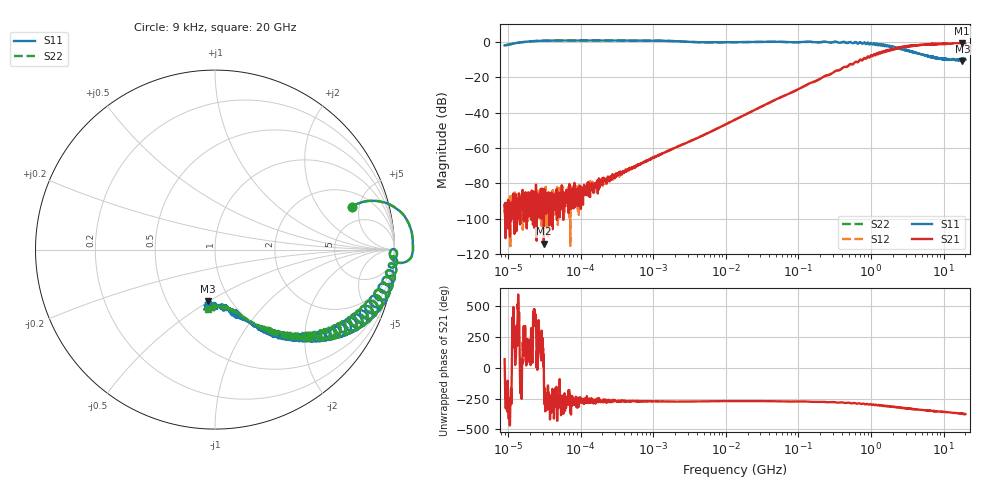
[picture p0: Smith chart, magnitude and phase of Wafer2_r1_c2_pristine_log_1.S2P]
!  2-Port S-parameters saved by WinCal
! VAR MeasName=S-Parameters (CALIBRATED_DATA) read from VNA (P5004A)
! VAR MeasDate=26/04/2024 18:12:30
! VAR NAME=Wafer2_r1_c2_pristine_log
! VAR FILENAME=Wafer2_r1_c2_pristine_log_1.S2P
! VAR DATE=26/04/2024 18:12:30
! VAR PHYS_PORTS=1,2
! VAR ObjTypeName=DATASET
! VAR IndexType=Frequency
# Hz S MA R 50
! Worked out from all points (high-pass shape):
!   2000 points, 9 kHz to 20 GHz, reference 50 ohm
!   highest |S21| = -0.66 dB at 18.05 GHz (marker M1); lowest = -114.1 dB at 31.19 kHz (marker M2)
!   |S21| within 3 dB of the highest: 2.255 GHz to 2.324 GHz (68.94 MHz wide, 3.01 % of centre); 2.339 GHz to end of sweep (the widest 2 of 4)
!   lowest |S11| = -10.7 dB at 18.19 GHz (marker M3), VSWR 1.82, Z = 39.2 - j24.6 ohm
!   |S11| at or under -10 dB: 12.22 GHz to 12.84 GHz (617.6 MHz wide, 4.93 % of centre); 14.37 GHz to 15.19 GHz (816.7 MHz wide, 5.53 % of centre); 15.45 GHz to 15.93 GHz (482.1 MHz wide, 3.07 % of centre) (the widest 3 of 17)
!   |S22| runs from -10.4 to 0.9 dB; largest |S21 - S12| = 0.038
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9000  0.7978 17.3  2.37e-05 69.8  2.223e-05 116.6  0.7977 17.3
14795.9  0.9719 15.8  1.338e-05 153.3  1.856e-05 127.5  0.9718 15.8
31188.13  1.088 7.9  1.968e-06 4.5  3.335e-05 -175.8  1.088 7.8
103439.5  1.102 2.1  5.995e-05 109.5  8.465e-05 93.9  1.102 2.1
158064.8  1.103 1.2  7.861e-05 91.6  8.224e-05 90.6  1.103 1.2
214874.2  1.103 0.7  0.0001359 100.2  0.0001203 95.5  1.103 0.7
1180198  1.09 -2.6  0.0006164 85.5  0.0006304 86.0  1.09 -2.6
4530556  0.9807 -2.6  0.002127 86.6  0.002146 86.6  0.9807 -2.6
1.346554e7  0.986 0.1  0.006354 89.1  0.006374 88.6  0.9861 0.1
1.105652e8  0.9952 -2.2  0.05108 86.5  0.0514 86.0  0.9948 -2.2
1.536358e8  1 -5.6  0.07158 82.6  0.07088 82.8  1.001 -5.5
2.966476e8  0.9819 -6.8  0.133 81.2  0.1343 81.1  0.9818 -6.8
7.506948e8  0.8951 -21.2  0.3027 66.1  0.302 66.2  0.8967 -20.9
1.043128e9  0.8511 -28.2  0.3949 58.5  0.3952 58.6  0.8527 -27.9
1.752917e9  0.7388 -37.9  0.5615 47.7  0.5645 47.6  0.7384 -37.5
2.860783e9  0.6213 -50.5  0.7339 33.5  0.7383 33.2  0.6193 -50.0
5.364551e9  0.4303 -66.9  0.8415 15.4  0.8393 15.1  0.4288 -65.1
9.488158e9  0.3359 -80.8  0.8888 1.4  0.8789 1.2  0.3344 -76.8
1.347662e10  0.331 -87.7  0.9215 -5.8  0.9175 -6.7  0.3149 -86.1
1.805428e10  0.3485 -97.7  0.9272 -14.4  0.9003 -16.0  0.3009 -92.5
1.818676e10  0.2903 -98.2  0.8825 -16.0  0.8707 -13.8  0.3307 -91.5
2e10  0.313 -97.3  0.8826 -16.8  0.8966 -16.1  0.3334 -96.5
